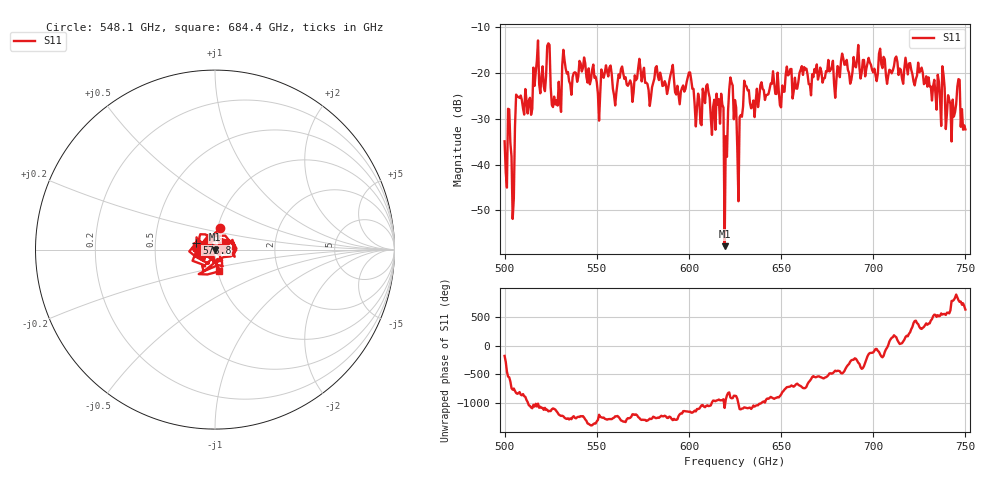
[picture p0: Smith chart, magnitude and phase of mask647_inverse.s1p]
!Created with skrf (http://scikit-rf.org).
# GHz S MA R 50.0
!freq magS11 angS11
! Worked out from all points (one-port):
!   401 points, 500 GHz to 750 GHz, reference 50 ohm
!   lowest |S11| = -57.8 dB at 619.4 GHz (marker M1), VSWR 1.00, Z = 50.1 - j0.00308 ohm
!   |S11| at or under -10 dB: start of sweep to end of sweep
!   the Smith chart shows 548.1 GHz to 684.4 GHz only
!   S11 on the Smith chart (normalised r, x): 548.1 GHz: 1.02, +0.25; 573.8 GHz: 0.81, +0.06; 684.4 GHz: 1.01, -0.25
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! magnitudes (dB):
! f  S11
! 500 GHz  -34.9
! 502.5 GHz  -27.9
! 504.4 GHz  -51.9
! 507.5 GHz  -25.2
! 513.8 GHz  -25.4
! 516.9 GHz  -19.8
! 523.8 GHz  -13.5
! 526.9 GHz  -25.1
! 531.2 GHz  -18.4
! 548.1 GHz  -18.1
! 562.5 GHz  -21.0
! 573.8 GHz  -19.1
! 593.8 GHz  -22.7
! 616.2 GHz  -25.7
! 619.4 GHz  -57.8
! 620.6 GHz  -38.3
! 622.5 GHz  -20.9
! 625 GHz  -25.9
! 627.5 GHz  -29.6
! 631.2 GHz  -22.9
! 634.4 GHz  -27.3
! 656.2 GHz  -25.5
! 684.4 GHz  -18.2
! 687.5 GHz  -22.3
! 718.8 GHz  -20.3
! 743.1 GHz  -25.8
! 745.6 GHz  -23.0
! 750 GHz  -32.3
